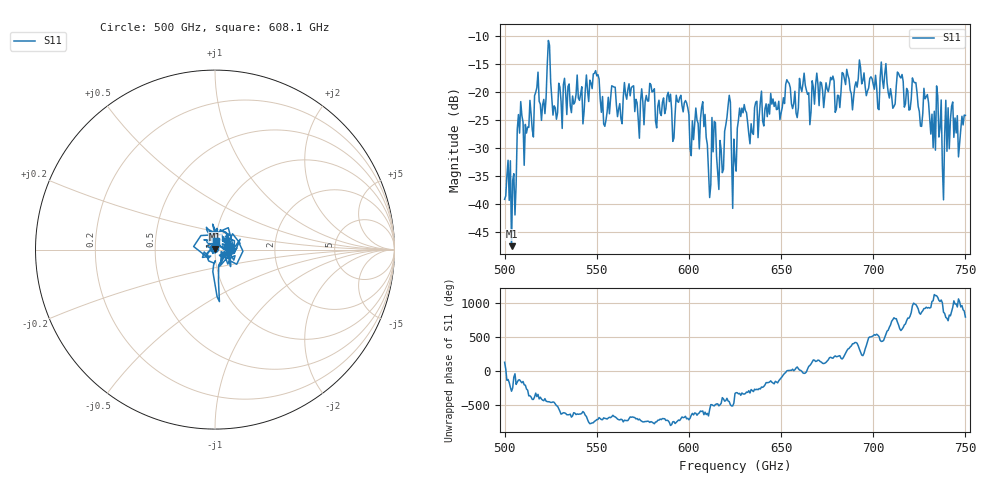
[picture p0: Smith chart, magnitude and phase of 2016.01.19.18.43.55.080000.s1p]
!Created with skrf (http://scikit-rf.org).
# GHz S RI R 50.0
!freq ReS11 ImS11
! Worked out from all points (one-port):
!   401 points, 500 GHz to 750 GHz, reference 50 ohm
!   lowest |S11| = -47.6 dB at 503.8 GHz (marker M1), VSWR 1.01, Z = 50.2 + j0.389 ohm
!   |S11| at or under -10 dB: start of sweep to end of sweep
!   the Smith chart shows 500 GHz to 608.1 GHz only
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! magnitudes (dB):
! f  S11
! 500 GHz  -39.2
! 503.8 GHz  -47.6
! 505 GHz  -34.6
! 508.1 GHz  -27.3
! 521.2 GHz  -21.3
! 523.8 GHz  -10.7
! 527.5 GHz  -22.8
! 531.2 GHz  -26.5
! 549.4 GHz  -16.1
! 553.8 GHz  -25.7
! 558.8 GHz  -19.0
! 562.5 GHz  -22.0
! 593.8 GHz  -21.6
! 601.9 GHz  -25.1
! 607.5 GHz  -21.7
! 610.6 GHz  -34.2
! 613.8 GHz  -25.3
! 617.5 GHz  -30.4
! 621.2 GHz  -22.4
! 625 GHz  -32.3
! 628.8 GHz  -22.9
! 633.8 GHz  -25.7
! 656.2 GHz  -22.9
! 687.5 GHz  -19.6
! 718.8 GHz  -19.7
! 735.6 GHz  -28.0
! 738.8 GHz  -27.7
! 750 GHz  -24.2
